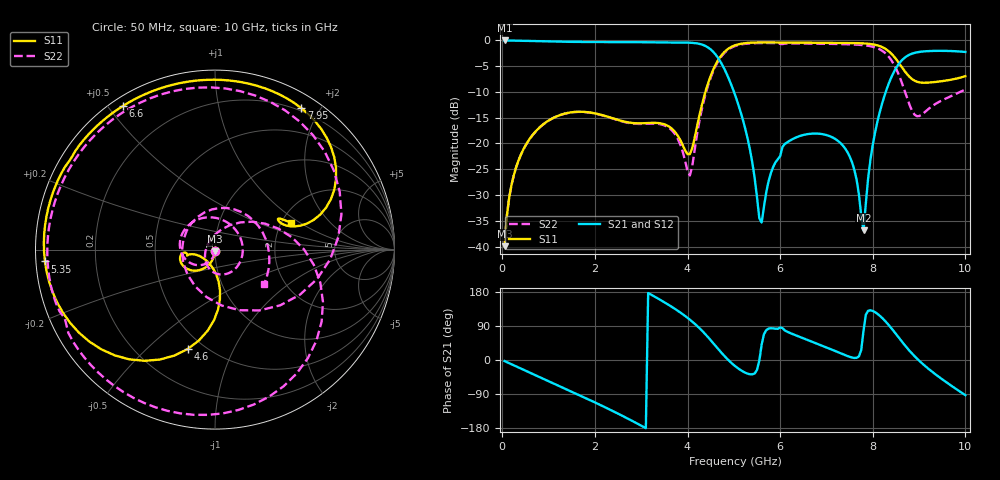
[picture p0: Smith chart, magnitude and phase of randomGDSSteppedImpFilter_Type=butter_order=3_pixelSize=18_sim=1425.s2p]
! freq	dB(S11)	phase(S11)	dB(S12)	phase(S12)
!  dB(S21)	phase(S21)	dB(S22)	phase(S22)
!S-par simulation data
#  GHz  S  DB  R 50
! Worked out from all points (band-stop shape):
!   200 points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, 50 MHz to 10 GHz, reference 50 ohm
!   highest |S21| = 0.00 dB at 50 MHz (marker M1); lowest = -36.9 dB at 7.8 GHz (marker M2)
!   |S21| within 3 dB of the highest: start of sweep to 4.628 GHz; 8.744 GHz to end of sweep
!   lowest |S11| = -39.9 dB at 50 MHz (marker M3), VSWR 1.02, Z = 50 - j1.01 ohm
!   |S11| at or under -10 dB: start of sweep to 4.386 GHz
!   |S22| runs from -39.9 to -0.5 dB; largest |S21 - S12| = 0
!   S11 on the Smith chart (normalised r, x): 50 MHz: 1.00, -0.02; 4.6 GHz: 0.41, -0.68; 5.35 GHz: 0.03, -0.03; 6.6 GHz: 0.03, +0.55; 7.95 GHz: 0.17, +1.77; 10 GHz: 2.26, +0.84
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0.05  -39.94 -91.9  -0.00 -2.9  -0.00 -2.9  -39.88 -92.6
0.2  -27.99 -99.1  -0.03 -11.3  -0.03 -11.3  -28.01 -103.3
0.5  -20.41 -113.5  -0.08 -28.1  -0.08 -28.1  -20.43 -123.7
1.75  -13.86 -162.8  -0.30 -97.6  -0.30 -97.6  -13.88 146.3
2.7  -15.88 -173.0  -0.31 -154.0  -0.31 -154.0  -15.97 44.5
3.4  -16.07 -168.2  -0.39 159.5  -0.39 159.5  -16.24 -51.6
4.05  -22.07 -121.9  -0.44 106.5  -0.44 106.5  -26.21 153.4
4.6  -4.81 -105.4  -2.67 37.9  -2.67 37.9  -5.07 -8.8
5.05  -0.87 -153.1  -11.19 -18.2  -11.19 -18.2  -1.02 -75.9
5.35  -0.45 -176.0  -21.29 -37.8  -21.29 -37.8  -0.57 -106.4
5.6  -0.38 169.0  -35.34 40.5  -35.34 40.5  -0.50 -126.4
6.05  -0.45 146.9  -20.65 84.2  -20.65 84.2  -0.72 -155.5
6.6  -0.44 122.7  -18.18 52.7  -18.18 52.7  -0.60 172.2
6.7  -0.45 118.5  -18.08 47.9  -18.08 47.9  -0.61 166.3
7.45  -0.49 85.4  -21.63 10.6  -21.63 10.6  -0.74 117.3
7.8  -0.57 67.4  -36.88 77.0  -36.88 77.0  -0.92 86.3
7.95  -0.69 58.5  -23.11 131.2  -23.11 131.2  -1.12 69.5
8.35  -2.14 30.4  -8.25 91.6  -8.25 91.6  -3.22 5.7
8.65  -5.47 15.8  -3.65 45.2  -3.65 45.2  -8.77 -68.0
9.05  -8.19 23.9  -2.17 -7.3  -2.17 -7.3  -14.45 146.4
9.45  -7.96 25.6  -2.02 -46.5  -2.02 -46.5  -11.83 54.6
10  -6.95 19.2  -2.24 -92.8  -2.24 -92.8  -9.50 -35.1
